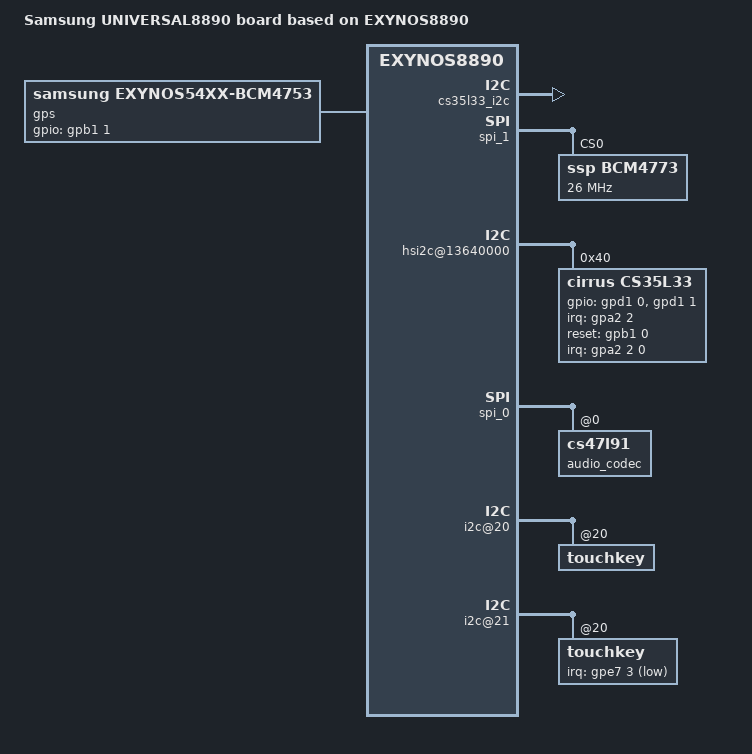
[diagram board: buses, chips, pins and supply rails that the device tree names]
/*
 * SAMSUNG UNIVERSAL8890 board device tree source
 *
 * Copyright (c) 2015 Samsung Electronics Co., Ltd.
 *		http://www.samsung.com
 *
 * This program is free software; you can redistribute it and/or modify
 * it under the terms of the GNU General Public License version 2 as
 * published by the Free Software Foundation.
*/
/dts-v1/;
#include "exynos8890-vlte_common.dtsi"
#include "exynos8890-vlte_gpio_03.dtsi"
#include "exynos8890-sound-cs47l91.dtsi"
#include "exynos8890-vlte_battery_eur_01.dtsi"
#include "exynos8890-vlte_display_02.dtsi"
#include "exynos8890-vlte_mst_01.dtsi"
#include "exynos8890-vlte_fingerprint-sensor_03.dtsi"
/ {

	model = "Samsung UNIVERSAL8890 board based on EXYNOS8890";
	model_info-chip = <8890>;
	model_info-platform = "android";
	model_info-subtype = "samsung";
	model_info-hw_rev = <3>;
	model_info-hw_rev_end = <3>;
	compatible = "samsung,exynos8890","samsung,UNIVERSAL8890";

	audio_pdata {
		compatible = "samsung,audio-pdata";
		seamless_voicewakeup;
		status = "okay";
	};

	pinctrl@10580000 {
		codec_irq: codec-irq {
			samsung,pins = "gpa2-6";
			samsung,pin-function = <0xf>;
			samsung,pin-pud = <0>;
		};
		cs35l33_ctrl: cs35l33-ctl {
			samsung,pins ="gpa2-2";
			samsung,pin-function = <0>;
			samsung,pin-pud = <0>;
			samsung,pin-con-pdn =<2>;
			samsung,pin-pud-pdn = <0>;
		};
		attn_irq: attn-irq {
			samsung,pins = "gpa1-0";
			samsung,pin-function = <0xf>;
			samsung,pin-pud = <0>;
			samsung,pin-drv = <0>;
		};
		attn_input: attn-input {
			samsung,pins = "gpa1-0";
			samsung,pin-function = <0>;
			samsung,pin-pud = <1>;
		};
	};

	pinctrl@136D0000 {
		cs35l33_reset: cs35l33-reset {
			samsung,pins ="gpb1-0";
			samsung,pin-function = <1>;
			samsung,pin-pud = <0>;
			samsung,pin-con-pdn = <3>;
			samsung,pin-pud-pdn = <0>;
			samsung,pin-val = <0>;
		};

		cs35l33_i2c: cs35l33-i2c {
			samsung,pins = "gpd1-0", "gpd1-1";
			samsung,pin-pud = <0>;
			status = "okay";
		};
	};

	pinctrl@14CC0000 {
		codec_reset: codec-reset {
			samsung,pins ="gpe6-5";
			samsung,pin-function = <1>;
			samsung,pin-pud = <1>;
			samsung,pin-con-pdn =<3>;
			samsung,pin-pud-pdn = <1>;
			samsung,pin-val = <0>;
		};
		/* sub touchkey interrupt*/
		cfg_irq_sub: cfg-irq-sub {
			samsung,pins = "gpe7-3";
			samsung,pin-function = <0xf>;
			samsung,pin-pud = <3>;
			samsung,pin-drv = <0>;
		};
		cfg_input_sub: cfg-input-sub {
			samsung,pins = "gpe7-3";
			samsung,pin-function = <0>;
			samsung,pin-pud = <1>;
			samsung,pin-drv = <0>;
		};
	};

	spi_1: spi@14d30000 {
		#address-cells = <1>;
		#size-cells = <0>;

		pinctrl-names = "default";
		pinctrl-0 = <&spi1_mosi_sck_ssn &spi1_miso>;

		num-cs = <1>;
		status = "okay";

		BCM4773@0 {
			compatible = "ssp,BCM4773";
			reg = <0>;
			spi-max-frequency = <26000000>;
			spi-cpol;
			spi-cpha;
			pinctrl-names = "default";
			pinctrl-0 = <&ssp_host_req &ssp_mcu_req &ssp_mcu_resp &ssp_batch_wake_irq>;

			gpio-controller;
			#gpio-cells = <2>;
			ssp-host-req = <&gpa3 4 0x00>;
			ssp-mcu-req = <&gpe6 4 0x00>;
			ssp-mcu-resp = <&gpg0 2 0x00>;
			ssp-batch-wake-irq = <&gpa3 1 0x00>;
			ssp-acc-position = <0>;
			ssp-acc-sub-position = <5>;
			ssp-mag-position = <0>;
			ssp-sns-combination = <0>;
			ssp,prox-hi_thresh = <600>;
			ssp,prox-low_thresh = <400>;
			ssp,prox-cal_hi_thresh = <8192>;
			SSP,prox-cal_low_thresh = <5000>;
			ssp-ap-rev = <1>;
			ssp-mag-array = <9930 866 (-228) 263 9197 121 (-135) 387 10378>;
			ssp-glass-type = <1>;
			ssp-hall-threshold = /bits/ 16 <1 (-50) (-60) (-90) (-95)>;

			controller-data {
				cs-gpio = <&gpe2 5 0>;
				samsung,spi-feedback-delay = <0>;
				};
			};
	};

	gps {
		compatible = "samsung,exynos54xx-bcm4753";

		pinctrl-names = "default";
		pinctrl-0 = <&ssp_gps_pwr_en>;

		gpios = <&gpb1 1 0x0>;
		status = "okay";
	};

	hsi2c@13640000 {
		status = "okay";

		cs35l33@40 {
			compatible = "cirrus,cs35l33";
			reg = <0x40>;
			pinctrl-names = "default";
			pinctrl-0 = <&cs35l33_i2c &cs35l33_reset &cs35l33_ctrl>;
			gpios = <&gpd1 0 0
				&gpd1 1 0
				>;
			interrupt-parent = <&gpa2>;
			interrupts = <2 0 0>;

			//VA-supply = <&ldo3_reg>;
			//VP-supply = <&ldo3_reg>;

			boost-ctl = <0x30>; /* for 8V Boost */
			boost-ipk = <0xC0>;

			irq-gpios = <&gpa2 2 0>;
			reset-gpios = <&gpb1 0 0>;
			hg-algo {
				mem-depth = <0x3>;
				release-rate = <0x3>;
				hd-rm = <0x6>; /* recommend Class GH headroom as 0.6V */
				ldo-thld = <0x1>;
				ldo-path-disable = <0x0>;
				ldo-entry-delay=<0x4>;
				/* vp-hg-auto; */
				vp-hg=<0x05>; /* for 3.0V VP voltage */
				vp-hg-rate=<0x2>;
				vp-hg-va=<0x0>;
			};
		};
	};

	sound {
		mixer-paths = "mixer_paths_r02.xml";
		samsung,audio-routing =
			"HP", "HPOUT1L",
			"HP", "HPOUT1R",
			"AIF4 Capture", "OPCLK",
			"CS35L33 Playback", "AIF4 Capture",
			"SPK", "SPEAKER",
			"RCV", "HPOUT3L",
			"RCV", "HPOUT3R",
			"Main Mic", "MICBIAS2A",
			"IN1AR", "Main Mic",
			"Headset Mic", "MICBIAS1A",
			"IN2BL", "Headset Mic",
			"Sub Mic", "MICBIAS2B",
			"IN3L", "Sub Mic",
			"AIF4 Playback", "OPCLK",
			"AIF4 Playback", "CS35L33 Capture",
			"CS35L33 Capture", "VI SENSING",
			"IN3L", "FM In",
			"IN3R", "FM In";
	};

	spi_0: spi@14d20000 {
		audio_codec: cs47l91@0 {
			wlf,gpio-defaults = <
				0x00002040 0x00001000 /* GPIO1 */
				0xffffffff 0xffffffff /* GPIO2 */
				0xffffffff 0xffffffff /* GPIO3 */
				0xffffffff 0xffffffff /* GPIO4 */
				0xffffffff 0xffffffff /* GPIO5 */
				0xffffffff 0xffffffff /* GPIO6 */
				0xffffffff 0xffffffff /* GPIO7 */
				0xffffffff 0xffffffff /* GPIO8 */
				0xffffffff 0xffffffff /* MIF1SCLK / GPIO9 */
				0xffffffff 0xffffffff /* MIF1SDA / GPIO10 */
				0xffffffff 0xffffffff /* MIF2SCLK / GPIO11 */
				0xffffffff 0xffffffff /* MIF2SDA / GPIO12 */
				0xffffffff 0xffffffff /* MIF3SCLK / GPIO13 */
				0xffffffff 0xffffffff /* MIF3SDA / GPIO14 */
				0x00002000 0x00006000 /* AIF1TXDAT / GPIO15 */
				0x00002000 0x00006000 /* AIF1BCLK / GPIO16 */
				0x00002000 0x00006000 /* AIF1RXDAT / GPIO17 */
				0x00002000 0x00006000 /* AIF1LRCLK / GPIO18 */
				0x00002000 0x00006000 /* AIF2TXDAT / GPIO19 */
				0x00002000 0x00006000 /* AIF2BCLK / GPIO20 */
				0x00002000 0x00006000 /* AIF2RXDAT / GPIO21 */
				0x00002000 0x00006000 /* AIF2LRCLK / GPIO22 */
				0x00002000 0x00006000 /* AIF3TXDAT / GPIO23 */
				0x00002000 0x00006000 /* AIF3BCLK / GPIO24 */
				0x00002000 0x00006000 /* AIF3RXDAT / GPIO25 */
				0x00002000 0x00006000 /* AIF3LRCLK / GPIO26 */
				0x00002000 0x00006000 /* AIF4TXDAT / GPIO27 */
				0x00002000 0x00006000 /* AIF4BCLK / GPIO28 */
				0x00002000 0x00006000 /* AIF4RXDAT / GPIO29 */
				0x00002000 0x00006000 /* AIF4LRCLK / GPIO30 */
				0x00002000 0x00006000 /* DMICCLK4 / GPIO31 */
				0x00002000 0x00006000 /* DMICDAT4 / GPIO32 */
				0x00002000 0x00006000 /* DMICCLK5 / GPIO33 */
				0x00002000 0x00006000 /* DMICDAT5 / GPIO34 */
				0x00002000 0x00006000 /* DMICCLK6 / GPIO35 */
				0x00002000 0x00006000 /* DMICDAT6 / GPIO36 */
				0x00002000 0x00006000 /* SPKCLK1 / GPIO37 */
				0x00002000 0x00006000 /* SPKCLK2 / GPIO38 */
			>;
			adsps {
				adsp@2FFE00 {
					reg = <0x2FFE00>;
					firmware {
						DSM {
							wlf,wmfw-file = "spk-crs";
							wlf,bin-file = "spk-crs";
						};
					};
				};
			};
		};
	};

	i2c@20{
		touchkey@20 {
			abov,fw_path = "abov/abov_vjf.fw";
		};
	};

	i2c@21{
		touchkey@20 {
			abov,irq-gpio = <&gpe7 3 1>;
			abov,regulator_avdd = "VDD_SUB_KEYLED_3.3V";
			abov,fw_path = "abov/abov_vjf_sub.fw";
		};
	};
};
